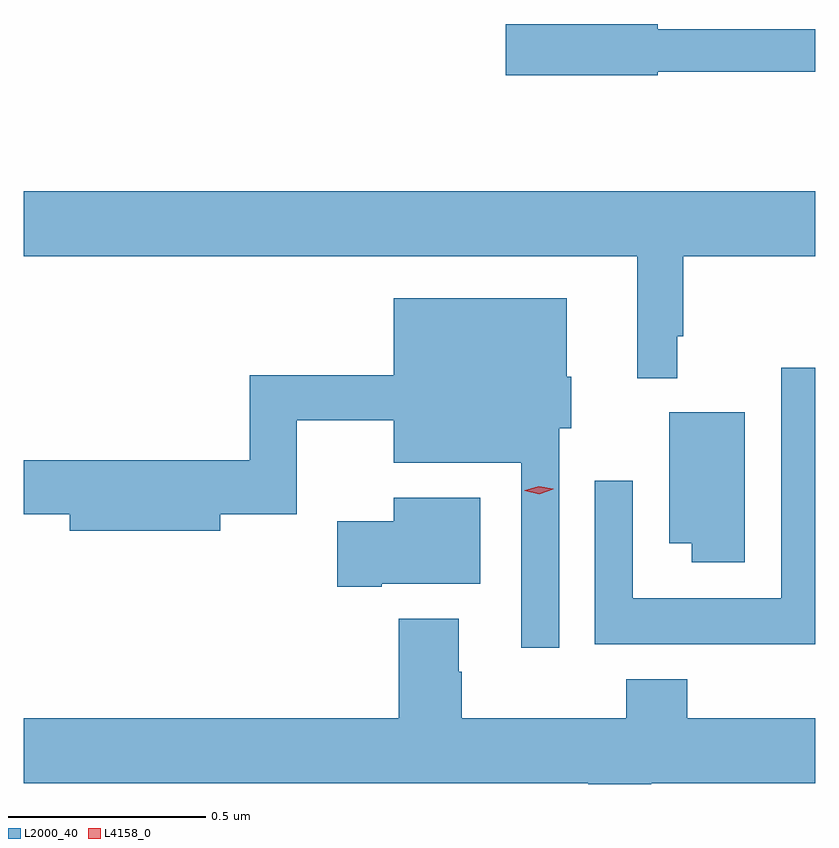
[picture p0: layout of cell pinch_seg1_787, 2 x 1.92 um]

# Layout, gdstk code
import gdstk
lib = gdstk.Library(unit=1e-6, precision=1e-09)
def P(c, l, *ps):  # polygons
    for p in ps: c.add(gdstk.Polygon(p, *l))
L2000_40 = (2000, 40)
L4158_0 = (4158, 0)

pinch_seg1_787 = lib.new_cell('pinch_seg1_787')
P(pinch_seg1_787, L2000_40, [(780.882,525.558),(781.28,525.558),(781.28,525.666),(780.882,525.666),(780.882,525.679),(780.498,525.679),(780.498,525.55),(780.882,525.55)],
  [(780.932,524.89),(780.947,524.89),(780.947,525.092),(781.28,525.092),(781.28,525.256),(779.28,525.256),(779.28,525.092),(780.83,525.092),(780.83,524.783),(780.932,524.783)],
  [(780.633,524.657),(780.664,524.657),(780.664,524.787),(780.652,524.787),(780.652,524.986),(780.215,524.986),(780.215,524.791),(779.851,524.791),(779.851,524.576),(779.28,524.576),(779.28,524.44),(779.396,524.44),(779.396,524.398),(779.776,524.398),(779.776,524.44),(779.97,524.44),(779.97,524.677),(780.215,524.677),(780.215,524.57),(780.537,524.57),(780.537,524.103),(780.633,524.103)],
  [(781.28,524.81),(781.194,524.81),(781.194,524.227),(780.819,524.227),(780.819,524.524),(780.723,524.524),(780.723,524.111),(781.28,524.111)],
  [(781.102,524.698),(780.911,524.698),(780.911,524.366),(780.968,524.366),(780.968,524.318),(781.102,524.318)],
  [(780.184,524.264),(780.433,524.264),(780.433,524.482),(780.215,524.482),(780.215,524.422),(780.072,524.422),(780.072,524.257),(780.184,524.257)],
  [(780.866,523.76),(781.28,523.76),(781.28,523.924),(780.957,523.924),(780.957,524.023),(780.802,524.023),(780.802,523.924),(780.387,523.924),(780.387,524.042),(780.379,524.042),(780.379,524.176),(780.227,524.176),(780.227,523.924),(779.28,523.924),(779.28,523.76),(780.706,523.76),(780.706,523.758),(780.866,523.758)])
P(pinch_seg1_787, L4158_0, [(780.583,524.491),(780.546,524.499),(780.546,524.499),(780.546,524.5),(780.582,524.511),(780.618,524.504),(780.618,524.503),(780.618,524.503)])

lib.write_gds('pinch_seg1_787.gds')
